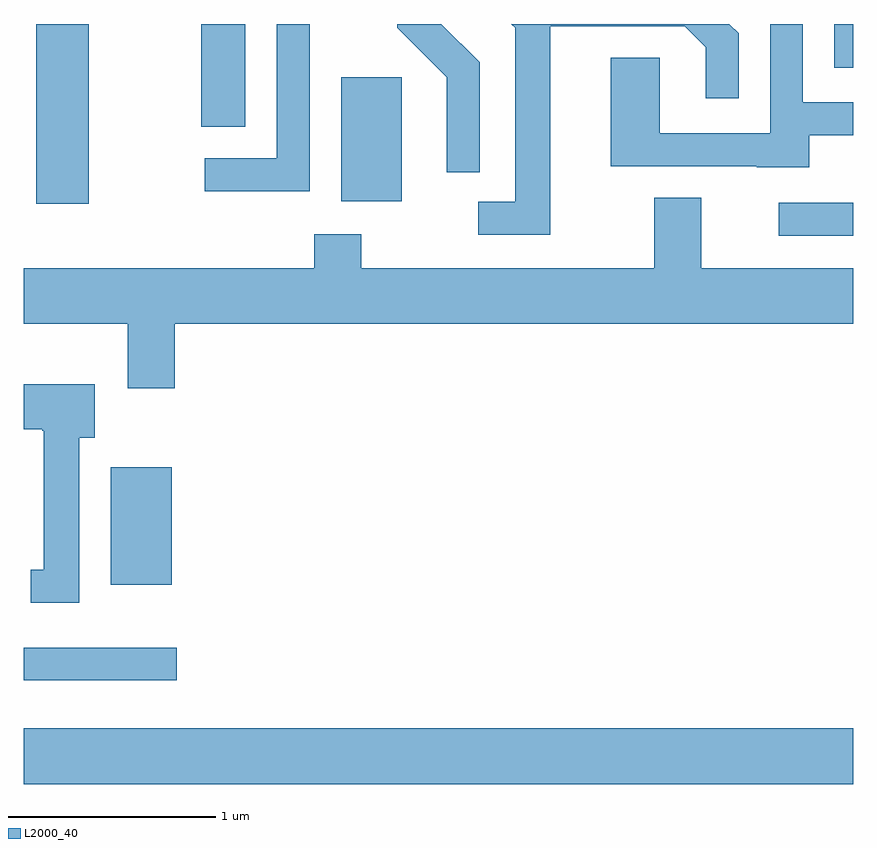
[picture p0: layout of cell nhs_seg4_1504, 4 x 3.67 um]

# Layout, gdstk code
import gdstk
lib = gdstk.Library(unit=1e-6, precision=1e-09)
def R(c, l, rs):  # rectangles x0, y0, x1, y1
    for r in rs: c.add(gdstk.rectangle(r[:2], r[2:], *l))
def P(c, l, *ps):  # polygons
    for p in ps: c.add(gdstk.Polygon(p, *l))
L2000_40 = (2000, 40)

nhs_seg4_1504 = lib.new_cell('nhs_seg4_1504')
R(nhs_seg4_1504, L2000_40, [(229.611,1270.316,233.611,1270.584), (229.611,1270.816,230.348,1270.974), (230.031,1271.276,230.324,1271.844), (233.253,1272.961,233.611,1273.119), (229.671,1273.116,229.924,1273.982), (231.141,1273.126,231.434,1273.724), (230.466,1273.486,230.679,1273.982), (233.521,1273.771,233.611,1273.982)])
P(nhs_seg4_1504, L2000_40, [(231.809,1273.797),(231.624,1273.982),(231.411,1273.982),(231.411,1273.964),(231.651,1273.724),(231.651,1273.268),(231.809,1273.268)],
  [(233.399,1273.446),(233.611,1273.446),(233.611,1273.604),(233.369,1273.604),(233.369,1273.982),(233.211,1273.982),(233.211,1273.454),(232.679,1273.454),(232.679,1273.819),(232.441,1273.819),(232.441,1273.296),(233.145,1273.296),(233.145,1273.291),(233.399,1273.291)],
  [(230.989,1273.982),(230.831,1273.982),(230.831,1273.334),(230.483,1273.334),(230.483,1273.176),(230.989,1273.176)],
  [(232.149,1273.971),(232.799,1273.971),(232.901,1273.869),(232.901,1273.623),(233.059,1273.623),(233.059,1273.937),(233.014,1273.982),(231.963,1273.982),(231.981,1273.964),(231.981,1273.124),(231.803,1273.124),(231.803,1272.966),(232.149,1272.966)],
  [(230.339,1272.536),(233.611,1272.536),(233.611,1272.804),(232.879,1272.804),(232.879,1273.144),(232.651,1273.144),(232.651,1272.804),(231.239,1272.804),(231.239,1272.969),(231.011,1272.969),(231.011,1272.804),(229.611,1272.804),(229.611,1272.536),(230.111,1272.536),(230.111,1272.226),(230.339,1272.226)],
  [(229.879,1271.986),(229.954,1271.986),(229.954,1272.244),(229.611,1272.244),(229.611,1272.026),(229.7,1272.026),(229.7,1272.02),(229.706,1272.02),(229.706,1271.349),(229.643,1271.349),(229.643,1271.191),(229.879,1271.191)])

lib.write_gds('nhs_seg4_1504.gds')
